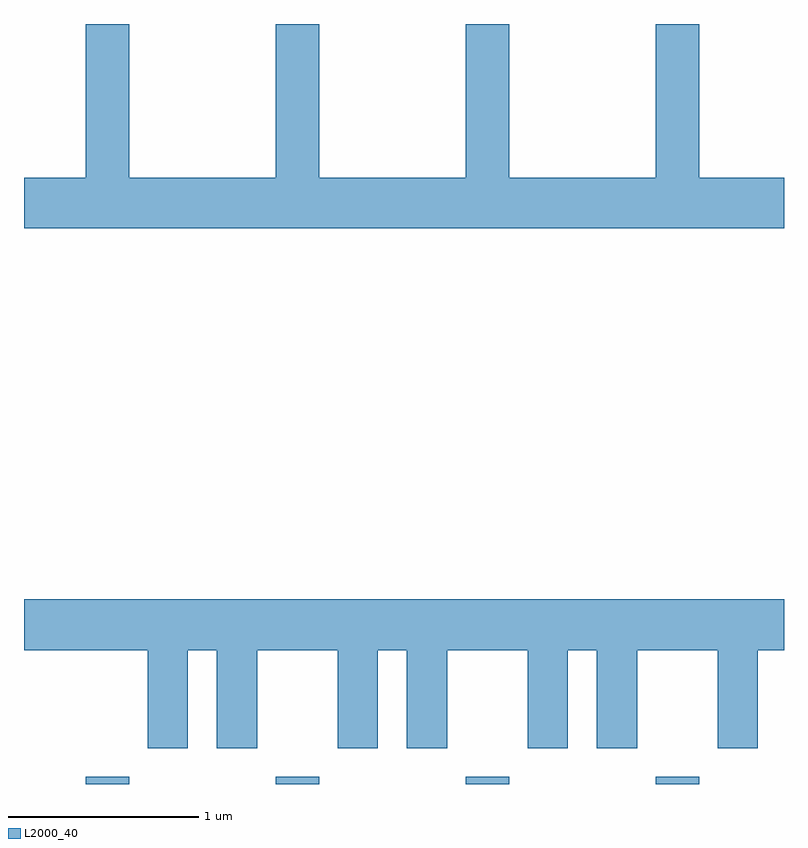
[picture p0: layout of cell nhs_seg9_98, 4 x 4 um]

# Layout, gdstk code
import gdstk
lib = gdstk.Library(unit=1e-6, precision=1e-09)
def R(c, l, rs):  # rectangles x0, y0, x1, y1
    for r in rs: c.add(gdstk.rectangle(r[:2], r[2:], *l))
def A(c, l, x, y, w, h, nx, ny, dx, dy):  # array of equal rectangles
    R(c, l, [(x+i*dx, y+j*dy, x+i*dx+w, y+j*dy+h) for i in range(nx) for j in range(ny)])
def P(c, l, *ps):  # polygons
    for p in ps: c.add(gdstk.Polygon(p, *l))
L2000_40 = (2000, 40)

nhs_seg9_98 = lib.new_cell('nhs_seg9_98')
A(nhs_seg9_98, L2000_40, 187.936, 2004.432, 0.228, 0.037, 4, 1, 1, 0)
P(nhs_seg9_98, L2000_40, [(191.611,2007.624),(191.164,2007.624),(191.164,2008.432),(190.936,2008.432),(190.936,2007.624),(190.164,2007.624),(190.164,2008.432),(189.936,2008.432),(189.936,2007.624),(189.164,2007.624),(189.164,2008.432),(188.936,2008.432),(188.936,2007.624),(188.164,2007.624),(188.164,2008.432),(187.936,2008.432),(187.936,2007.624),(187.611,2007.624),(187.611,2007.356),(191.611,2007.356)],
  [(188.474,2005.136),(188.626,2005.136),(188.626,2004.621),(188.839,2004.621),(188.839,2005.136),(189.261,2005.136),(189.261,2004.621),(189.474,2004.621),(189.474,2005.136),(189.626,2005.136),(189.626,2004.621),(189.839,2004.621),(189.839,2005.136),(190.261,2005.136),(190.261,2004.621),(190.474,2004.621),(190.474,2005.136),(190.626,2005.136),(190.626,2004.621),(190.839,2004.621),(190.839,2005.136),(191.261,2005.136),(191.261,2004.621),(191.474,2004.621),(191.474,2005.136),(191.611,2005.136),(191.611,2005.404),(187.611,2005.404),(187.611,2005.136),(188.261,2005.136),(188.261,2004.621),(188.474,2004.621)])

lib.write_gds('nhs_seg9_98.gds')
